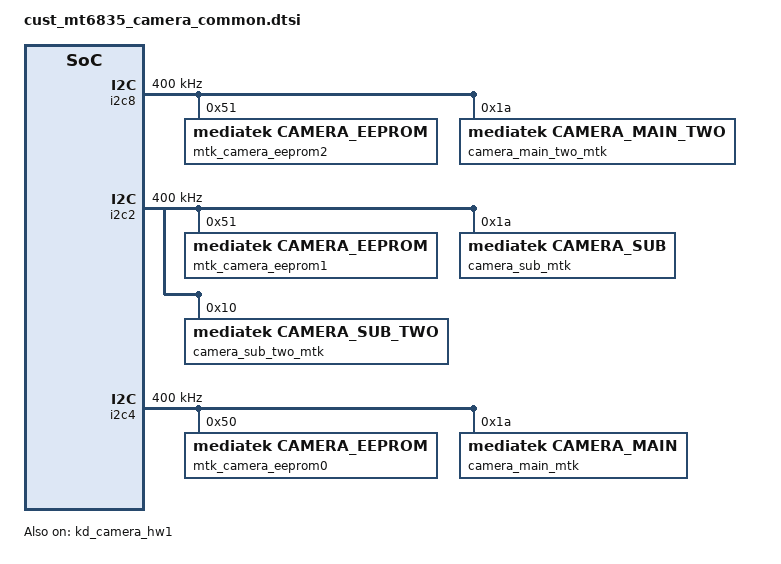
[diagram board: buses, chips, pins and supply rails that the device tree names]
// SPDX-License-Identifier: GPL-2.0
/* Copyright (c) 2020 MediaTek Inc. */
/* CAMERA GPIO standardization */

&pio {
	camera_pins_cam0_rst_0: cam0@0 {
		pins_cmd_dat {
			pinmux = <PINMUX_GPIO26__FUNC_GPIO26>;
			slew-rate = <1>;
			output-low;
		};
	};
	camera_pins_cam0_rst_1: cam0@1 {
		pins_cmd_dat {
			pinmux = <PINMUX_GPIO26__FUNC_GPIO26>;
			slew-rate = <1>;
			output-high;
		};
	};
	//cam0 powerdown nc
	camera_pins_cam0_pnd_0: cam0@2 {
		pins_cmd_dat {
			pinmux = <PINMUX_GPIO19__FUNC_GPIO19>;
			slew-rate = <1>;
			output-low;
		};
	};
	camera_pins_cam0_pnd_1: cam0@3 {
		pins_cmd_dat {
			pinmux = <PINMUX_GPIO19__FUNC_GPIO19>;
			slew-rate = <1>;
			output-high;
		};
	};
	camera_pins_cam1_rst_0: cam1@0 {
		pins_cmd_dat {
			pinmux = <PINMUX_GPIO25__FUNC_GPIO25>;
			slew-rate = <1>;
			output-low;
		};
	};
	camera_pins_cam1_rst_1: cam1@1 {
		pins_cmd_dat {
			pinmux = <PINMUX_GPIO25__FUNC_GPIO25>;
			slew-rate = <1>;
			output-high;
		};
	};
	camera_pins_cam1_pnd_0: cam1@2 {
		pins_cmd_dat {
			pinmux = <PINMUX_GPIO21__FUNC_GPIO21>;
			slew-rate = <1>;
			output-low;
		};
	};
	camera_pins_cam1_pnd_1: cam1@3 {
		pins_cmd_dat {
			pinmux = <PINMUX_GPIO21__FUNC_GPIO21>;
			slew-rate = <1>;
			output-high;
		};
	};
	camera_pins_cam2_rst_0: cam2@0 {
		pins_cmd_dat {
			pinmux = <PINMUX_GPIO28__FUNC_GPIO28>;
			slew-rate = <1>;
			output-low;
		};
	};
	camera_pins_cam2_rst_1: cam2@1 {
		pins_cmd_dat {
			pinmux = <PINMUX_GPIO28__FUNC_GPIO28>;
			slew-rate = <1>;
			output-high;
		};
	};
	camera_pins_cam2_pnd_0: cam2@2 {
		pins_cmd_dat {
			pinmux = <PINMUX_GPIO23__FUNC_GPIO23>;
			slew-rate = <1>;
			output-low;
		};
	};
	camera_pins_cam2_pnd_1: cam2@3 {
		pins_cmd_dat {
			pinmux = <PINMUX_GPIO23__FUNC_GPIO23>;
			slew-rate = <1>;
			output-high;
		};
	};
	camera_pins_cam3_rst_0: cam3@0 {
		pins_cmd_dat {
			pinmux = <PINMUX_GPIO27__FUNC_GPIO27>;
			slew-rate = <1>;
			output-low;
		};
	};
	camera_pins_cam3_rst_1: cam3@1 {
		pins_cmd_dat {
			pinmux = <PINMUX_GPIO27__FUNC_GPIO27>;
			slew-rate = <1>;
			output-high;
		};
	};
	camera_pins_cam3_pnd_0: cam3@2 {
		pins_cmd_dat {
			pinmux = <PINMUX_GPIO22__FUNC_GPIO22>;
			slew-rate = <1>;
			output-low;
		};
	};
	camera_pins_cam3_pnd_1: cam3@3 {
		pins_cmd_dat {
			pinmux = <PINMUX_GPIO22__FUNC_GPIO22>;
			slew-rate = <1>;
			output-high;
		};
	};
	camera0_vcama_off: camera0_vcama_output_low@gpio56 {
		pins_cmd_dat {
			pinmux = <PINMUX_GPIO56__FUNC_GPIO56>;
			output-low;
		};
	};
	camera0_vcama_on: camera0_vcama_output_high@gpio56 {
		pins_cmd_dat {
			pinmux = <PINMUX_GPIO56__FUNC_GPIO56>;
			output-high;
		};
	};
	camera0_vcamd_off: camera0_vcamd_output_low@gpio57 {
		pins_cmd_dat {
			pinmux = <PINMUX_GPIO57__FUNC_GPIO57>;
			output-low;
		};
	};
	camera0_vcamd_on: camera0_vcamd_output_high@gpio57 {
		pins_cmd_dat {
			pinmux = <PINMUX_GPIO57__FUNC_GPIO57>;
			output-high;
		};
	};
	camera1_vcama_off: camera1_vcama_output_low@gpio59 {
		pins_cmd_dat {
			pinmux = <PINMUX_GPIO59__FUNC_GPIO59>;
			output-low;
		};
	};
	camera1_vcama_on: camera1_vcama_output_high@gpio59 {
		pins_cmd_dat {
			pinmux = <PINMUX_GPIO59__FUNC_GPIO59>;
			output-high;
		};
	};
	camera1_vcamd_off: camera1_vcamd_output_low@gpio35 {
		pins_cmd_dat {
			pinmux = <PINMUX_GPIO35__FUNC_GPIO35>;
			output-low;
		};
	};
	camera1_vcamd_on: camera1_vcamd_output_high@gpio35 {
		pins_cmd_dat {
			pinmux = <PINMUX_GPIO35__FUNC_GPIO35>;
			output-high;
		};
	};
	camera2_vcama_off: camera2_vcama_output_low@gpio59 {
		pins_cmd_dat {
			pinmux = <PINMUX_GPIO59__FUNC_GPIO59>;
			output-low;
		};
	};
	camera2_vcama_on: camera2_vcama_output_high@gpio59 {
		pins_cmd_dat {
			pinmux = <PINMUX_GPIO59__FUNC_GPIO59>;
			output-high;
		};
	};
	camera2_vcamd_off: camera2_vcamd_output_low@gpio13 {
		pins_cmd_dat {
			pinmux = <PINMUX_GPIO13__FUNC_GPIO13>;
			output-low;
		};
	};
	camera2_vcamd_on: camera2_vcamd_output_high@gpio13 {
		pins_cmd_dat {
			pinmux = <PINMUX_GPIO13__FUNC_GPIO13>;
			output-high;
		};
	};
	camera3_vcama_off: camera3_vcama_output_low@gpio32 {
		pins_cmd_dat {
			pinmux = <PINMUX_GPIO32__FUNC_GPIO32>;
			output-low;
		};
	};
	camera3_vcama_on: camera3_vcama_output_high@gpio32 {
		pins_cmd_dat {
			pinmux = <PINMUX_GPIO32__FUNC_GPIO32>;
			output-high;
		};
	};
	camera3_vcamd_off: camera3_vcamd_output_low@gpio13 {
		pins_cmd_dat {
			pinmux = <PINMUX_GPIO13__FUNC_GPIO13>;
			output-low;
		};
	};
	camera3_vcamd_on: camera3_vcamd_output_high@gpio13 {
		pins_cmd_dat {
			pinmux = <PINMUX_GPIO13__FUNC_GPIO13>;
			output-high;
		};
	};
	camera_pins_cam0_mclk_off: camera_pins_cam0_mclk_off {
		pins_cmd_dat {
			pinmux = <PINMUX_GPIO89__FUNC_GPIO89>;
			drive-strength = <1>;
		};
	};
	camera_pins_cam0_mclk_2ma: camera_pins_cam0_mclk_2ma {
		pins_cmd_dat {
			pinmux = <PINMUX_GPIO89__FUNC_CMMCLK1>;
			drive-strength = <0>;
		};
	};
	camera_pins_cam0_mclk_4ma: camera_pins_cam0_mclk_4ma {
		pins_cmd_dat {
			pinmux = <PINMUX_GPIO89__FUNC_CMMCLK1>;
			drive-strength = <1>;
		};
	};
	camera_pins_cam0_mclk_6ma: camera_pins_cam0_mclk_6ma {
		pins_cmd_dat {
			pinmux = <PINMUX_GPIO89__FUNC_CMMCLK1>;
			drive-strength = <2>;
		};
	};
	camera_pins_cam0_mclk_8ma: camera_pins_cam0_mclk_8ma {
		pins_cmd_dat {
			pinmux = <PINMUX_GPIO89__FUNC_CMMCLK1>;
			drive-strength = <3>;
		};
	};
	camera_pins_cam1_mclk_off: camera_pins_cam1_mclk_off {
		pins_cmd_dat {
			pinmux = <PINMUX_GPIO88__FUNC_GPIO88>;
			drive-strength = <1>;
		};
	};
	camera_pins_cam1_mclk_2ma: camera_pins_cam1_mclk_2ma {
		pins_cmd_dat {
			pinmux = <PINMUX_GPIO88__FUNC_CMMCLK0>;
			drive-strength = <0>;
		};
	};
	camera_pins_cam1_mclk_4ma: camera_pins_cam1_mclk_4ma {
		pins_cmd_dat {
			pinmux = <PINMUX_GPIO88__FUNC_CMMCLK0>;
			drive-strength = <1>;
		};
	};
	camera_pins_cam1_mclk_6ma: camera_pins_cam1_mclk_6ma {
		pins_cmd_dat {
			pinmux = <PINMUX_GPIO88__FUNC_CMMCLK0>;
			drive-strength = <2>;
		};
	};
	camera_pins_cam1_mclk_8ma: camera_pins_cam1_mclk_8ma {
		pins_cmd_dat {
			pinmux = <PINMUX_GPIO88__FUNC_CMMCLK0>;
			drive-strength = <3>;
		};
	};
	camera_pins_cam2_mclk_off: camera_pins_cam2_mclk_off {
		pins_cmd_dat {
			pinmux = <PINMUX_GPIO91__FUNC_GPIO91>;
			drive-strength = <1>;
		};
	};
	camera_pins_cam2_mclk_2ma: camera_pins_cam2_mclk_2ma {
		pins_cmd_dat {
			pinmux = <PINMUX_GPIO91__FUNC_CMMCLK3>;
			drive-strength = <0>;
		};
	};
	camera_pins_cam2_mclk_4ma: camera_pins_cam2_mclk_4ma {
		pins_cmd_dat {
			pinmux = <PINMUX_GPIO91__FUNC_CMMCLK3>;
			drive-strength = <1>;
		};
	};
	camera_pins_cam2_mclk_6ma: camera_pins_cam2_mclk_6ma {
		pins_cmd_dat {
			pinmux = <PINMUX_GPIO91__FUNC_CMMCLK3>;
			drive-strength = <2>;
		};
	};
	camera_pins_cam2_mclk_8ma: camera_pins_cam2_mclk_8ma {
		pins_cmd_dat {
			pinmux = <PINMUX_GPIO91__FUNC_CMMCLK3>;
			drive-strength = <3>;
		};
	};
	camera_pins_cam3_mclk_off: camera_pins_cam3_mclk_off {
		pins_cmd_dat {
			pinmux = <PINMUX_GPIO90__FUNC_GPIO90>;
			drive-strength = <1>;
		};
	};
	camera_pins_cam3_mclk_2ma: camera_pins_cam3_mclk_2ma {
		pins_cmd_dat {
			pinmux = <PINMUX_GPIO90__FUNC_CMMCLK2>;
			drive-strength = <0>;
		};
	};
	camera_pins_cam3_mclk_4ma: camera_pins_cam3_mclk_4ma {
		pins_cmd_dat {
			pinmux = <PINMUX_GPIO90__FUNC_CMMCLK2>;
			drive-strength = <1>;
		};
	};
	camera_pins_cam3_mclk_6ma: camera_pins_cam3_mclk_6ma {
		pins_cmd_dat {
			pinmux = <PINMUX_GPIO90__FUNC_CMMCLK2>;
			drive-strength = <2>;
		};
	};
	camera_pins_cam3_mclk_8ma: camera_pins_cam3_mclk_8ma {
		pins_cmd_dat {
			pinmux = <PINMUX_GPIO90__FUNC_CMMCLK2>;
			drive-strength = <3>;
		};
	};
	camera0_vcamio_off: camera0_vcamio_output_low@gpio34 {
		pins_cmd_dat {
			pinmux = <PINMUX_GPIO34__FUNC_GPIO34>;
			output-low;
		};
	};
	camera0_vcamio_on: camera0_vcamio_output_high@gpio34 {
		pins_cmd_dat {
			pinmux = <PINMUX_GPIO34__FUNC_GPIO34>;
			output-high;
		};
	};
	camera1_vcamio_off: camera1_vcamio_output_low@gpio34 {
		pins_cmd_dat {
			pinmux = <PINMUX_GPIO34__FUNC_GPIO34>;
			output-low;
		};
	};
	camera1_vcamio_on: camera1_vcamio_output_high@gpio34 {
		pins_cmd_dat {
			pinmux = <PINMUX_GPIO34__FUNC_GPIO34>;
			output-high;
		};
	};
	camera2_vcamio_off: camera2_vcamio_output_low@gpio34 {
		pins_cmd_dat {
			pinmux = <PINMUX_GPIO34__FUNC_GPIO34>;
			output-low;
		};
	};
	camera2_vcamio_on: camera2_vcamio_output_high@gpio34 {
		pins_cmd_dat {
			pinmux = <PINMUX_GPIO34__FUNC_GPIO34>;
			output-high;
		};
	};
	camera3_vcamio_off: camera3_vcamio_output_low@gpio34 {
		pins_cmd_dat {
			pinmux = <PINMUX_GPIO34__FUNC_GPIO34>;
			output-low;
		};
	};
	camera3_vcamio_on: camera3_vcamio_output_high@gpio34 {
		pins_cmd_dat {
			pinmux = <PINMUX_GPIO34__FUNC_GPIO34>;
			output-high;
		};
	};
	camera_pins_cam_mipi_switch_en_1: mipi_en@1 {
		pins_cmd_dat {
			pinmux = <PINMUX_GPIO98__FUNC_GPIO98>;
			slew-rate = <1>;
			output-high;
		};
	};
	camera_pins_cam_mipi_switch_en_0: mipi_en@0 {
		pins_cmd_dat {
			pinmux = <PINMUX_GPIO98__FUNC_GPIO98>;
			slew-rate = <1>;
			output-low;
		};
	};
	camera_pins_cam_mipi_switch_sel_1: mipi_sel@1 {
		pins_cmd_dat {
			pinmux = <PINMUX_GPIO97__FUNC_GPIO97>;
			slew-rate = <1>;
			output-high;
		};
	};
	camera_pins_cam_mipi_switch_sel_0: mipi_sel@0 {
		pins_cmd_dat {
			pinmux = <PINMUX_GPIO97__FUNC_GPIO97>;
			slew-rate = <1>;
			output-low;
		};
	};
	camera_pins_default: camdefault {
	};
};
&kd_camera_hw1 {
	pinctrl-names = "default",
			"cam0_rst0", "cam0_rst1",
			"cam0_pnd0", "cam0_pnd1",
			"cam1_rst0", "cam1_rst1",
			"cam1_pnd0", "cam1_pnd1",
			"cam2_rst0", "cam2_rst1",
			"cam2_pnd0", "cam2_pnd1",
			"cam3_rst0", "cam3_rst1",
			"cam3_pnd0", "cam3_pnd1",

			"cam0_ldo_vcama_1", "cam0_ldo_vcama_0",
			"cam0_ldo_vcamd_1", "cam0_ldo_vcamd_0",

			"cam1_ldo_vcama_1", "cam1_ldo_vcama_0",
			"cam1_ldo_vcamd_1", "cam1_ldo_vcamd_0",

			"cam2_ldo_vcama_1", "cam2_ldo_vcama_0",
			"cam2_ldo_vcamd_1", "cam2_ldo_vcamd_0",

			"cam3_ldo_vcama_1", "cam3_ldo_vcama_0",
			"cam3_ldo_vcamd_1", "cam3_ldo_vcamd_0",

			"cam0_mclk_off",
			"cam0_mclk_2mA", "cam0_mclk_4mA",
			"cam0_mclk_6mA", "cam0_mclk_8mA",
			"cam1_mclk_off",
			"cam1_mclk_2mA", "cam1_mclk_4mA",
			"cam1_mclk_6mA", "cam1_mclk_8mA",
			"cam2_mclk_off",
			"cam2_mclk_2mA", "cam2_mclk_4mA",
			"cam2_mclk_6mA", "cam2_mclk_8mA",
			"cam3_mclk_off",
			"cam3_mclk_2mA", "cam3_mclk_4mA",
			"cam3_mclk_6mA", "cam3_mclk_8mA",
			"cam0_ldo_vcamio_1", "cam0_ldo_vcamio_0",
			"cam1_ldo_vcamio_1", "cam1_ldo_vcamio_0",
			"cam2_ldo_vcamio_1", "cam2_ldo_vcamio_0",
			"cam3_ldo_vcamio_1", "cam3_ldo_vcamio_0";

	pinctrl-0 = <&camera_pins_default>;
	pinctrl-1 = <&camera_pins_cam0_rst_0>;
	pinctrl-2 = <&camera_pins_cam0_rst_1>;
	pinctrl-3 = <&camera_pins_cam0_pnd_0>;
	pinctrl-4 = <&camera_pins_cam0_pnd_1>;
	pinctrl-5 = <&camera_pins_cam1_rst_0>;
	pinctrl-6 = <&camera_pins_cam1_rst_1>;
	pinctrl-7 = <&camera_pins_cam1_pnd_0>;
	pinctrl-8 = <&camera_pins_cam1_pnd_1>;
	pinctrl-9 = <&camera_pins_cam2_rst_0>;
	pinctrl-10 = <&camera_pins_cam2_rst_1>;
	pinctrl-11 = <&camera_pins_cam2_pnd_0>;
	pinctrl-12 = <&camera_pins_cam2_pnd_1>;
	pinctrl-13 = <&camera_pins_cam3_rst_0>;
	pinctrl-14 = <&camera_pins_cam3_rst_1>;
	pinctrl-15 = <&camera_pins_cam3_pnd_0>;
	pinctrl-16 = <&camera_pins_cam3_pnd_1>;

	pinctrl-17 = <&camera0_vcama_on>;
	pinctrl-18 = <&camera0_vcama_off>;
	pinctrl-19 = <&camera0_vcamd_on>;
	pinctrl-20 = <&camera0_vcamd_off>;

	pinctrl-21 = <&camera1_vcama_on>;
	pinctrl-22 = <&camera1_vcama_off>;
	pinctrl-23 = <&camera1_vcamd_on>;
	pinctrl-24 = <&camera1_vcamd_off>;

	pinctrl-25 = <&camera2_vcama_on>;
	pinctrl-26 = <&camera2_vcama_off>;
	pinctrl-27 = <&camera2_vcamd_on>;
	pinctrl-28 = <&camera2_vcamd_off>;

	pinctrl-29 = <&camera3_vcama_on>;
	pinctrl-30 = <&camera3_vcama_off>;
	pinctrl-31 = <&camera3_vcamd_on>;
	pinctrl-32 = <&camera3_vcamd_off>;

	pinctrl-33 = <&camera_pins_cam0_mclk_off>;
	pinctrl-34 = <&camera_pins_cam0_mclk_2ma>;
	pinctrl-35 = <&camera_pins_cam0_mclk_4ma>;
	pinctrl-36 = <&camera_pins_cam0_mclk_6ma>;
	pinctrl-37 = <&camera_pins_cam0_mclk_8ma>;
	pinctrl-38 = <&camera_pins_cam1_mclk_off>;
	pinctrl-39 = <&camera_pins_cam1_mclk_2ma>;
	pinctrl-40 = <&camera_pins_cam1_mclk_4ma>;
	pinctrl-41 = <&camera_pins_cam1_mclk_6ma>;
	pinctrl-42 = <&camera_pins_cam1_mclk_8ma>;
	pinctrl-43 = <&camera_pins_cam2_mclk_off>;
	pinctrl-44 = <&camera_pins_cam2_mclk_2ma>;
	pinctrl-45 = <&camera_pins_cam2_mclk_4ma>;
	pinctrl-46 = <&camera_pins_cam2_mclk_6ma>;
	pinctrl-47 = <&camera_pins_cam2_mclk_8ma>;
	pinctrl-48 = <&camera_pins_cam3_mclk_off>;
	pinctrl-49 = <&camera_pins_cam3_mclk_2ma>;
	pinctrl-50 = <&camera_pins_cam3_mclk_4ma>;
	pinctrl-51 = <&camera_pins_cam3_mclk_6ma>;
	pinctrl-52 = <&camera_pins_cam3_mclk_8ma>;
	pinctrl-53 = <&camera0_vcamio_on>;
	pinctrl-54 = <&camera0_vcamio_off>;
	pinctrl-55 = <&camera1_vcamio_on>;
	pinctrl-56 = <&camera1_vcamio_off>;
	pinctrl-57 = <&camera2_vcamio_on>;
	pinctrl-58 = <&camera2_vcamio_off>;
	pinctrl-59 = <&camera3_vcamio_on>;
	pinctrl-60 = <&camera3_vcamio_off>;

	/* main (wide)*/
	//cam0_vcama-supply = <&rt5133_ldo4>;
	//cam0_vcamio-supply = <&rt5133_ldo1>;
	//cam0_vcamd-supply = <&rt5133_ldo8>;
	//cam0_vcama1-supply = <&rt5133_ldo5>;
	//cam0_vcamaf-supply = <&rt5133_ldo3>;

	/* front*/
	//cam1_vcama-supply = <&rt5133_ldo6>;
	//cam1_vcamio-supply = <&rt5133_ldo1>;
	//cam1_vcamd-supply = <&rt5133_ldo7>;
	//cam1_vcama1-supply = <&rt5133_ldo5>;
	//cam1_vcamaf-supply = <&rt5133_ldo2>;

	/* main2 (Ultra Wide)*/
	//cam2_vcama-supply = <&rt5133_gpio2>;
	//cam2_vcamio-supply = <&rt5133_ldo1>;
	//cam2_vcamd-supply = <&rt5133_ldo7>;
	//cam2_vcama1-supply = <&rt5133_ldo5>;
	//cam2_vcamaf-supply = <&rt5133_gpio1>;

	//cam0_vcamio-supply = <&mt_pmic_vcamio_ldo_reg>;
	//cam1_vcamio-supply = <&mt_pmic_vcamio_ldo_reg>;
	//cam2_vcamio-supply = <&mt_pmic_vcamio_ldo_reg>;
	//cam3_vcamio-supply = <&mt_pmic_vcamio_ldo_reg>;

	cam0_vcamaf-supply = <&mt6377_vtp>;

	cam0_pin_mclk = "mclk";
	cam0_pin_rst = "gpio";
	cam0_pin_pnd = "gpio";
	cam0_pin_vcama = "gpio";
	cam0_pin_vcamio = "gpio";
	cam0_pin_vcamd = "gpio";
	cam0_pin_vcamaf = "regulator";

	cam1_pin_mclk = "mclk";
	cam1_pin_rst = "gpio";
	cam1_pin_pnd = "gpio";
	cam1_pin_vcama = "gpio";
	cam1_pin_vcamio = "gpio";
	cam1_pin_vcamd = "gpio";

	cam2_pin_mclk = "mclk";
	cam2_pin_rst = "gpio";
	cam2_pin_pnd = "gpio";
	cam2_pin_vcama = "gpio";
	cam2_pin_vcamio = "gpio";
	cam2_pin_vcamd = "gpio";

	cam3_pin_mclk = "mclk";
	cam3_pin_rst = "gpio";
	cam3_pin_pnd = "gpio";
	cam3_pin_vcama = "gpio";
	cam3_pin_vcamio = "gpio";
	cam3_pin_vcamd = "gpio";

	cam0_enable_sensor = "s5k3l8_mipi_raw ov50c40_mipi_raw";
	cam1_enable_sensor = "gc05a2sub_mipi_raw";
	cam2_enable_sensor = "bf2257csmacro_mipi_raw";
	cam3_enable_sensor = "";

	status = "okay";
};
/* CAMERA GPIO end */

/* CAMERA EEPROM */
&i2c8 {
	status = "okay";
	clock-frequency = <400000>;
	#address-cells = <1>;
	#size-cells = <0>;

	mtk_camera_eeprom2:camera_eeprom2@51 {
		compatible = "mediatek,camera_eeprom";
		reg = <0x51>;
		status = "okay";
	};
	camera_main_two_mtk:camera_main_two@1a {
		compatible = "mediatek,camera_main_two";
		#thermal-sensor-cells = <0>;
		reg = <0x1a>;
		status = "okay";
	};
};
&i2c2 {
	status = "okay";
	clock-frequency = <400000>;
	#address-cells = <1>;
	#size-cells = <0>;

	mtk_camera_eeprom1:camera_eeprom1@51 {
		compatible = "mediatek,camera_eeprom";
		reg = <0x51>;
		status = "okay";
	};
	camera_sub_mtk:camera_sub@1a {
		compatible = "mediatek,camera_sub";
		#thermal-sensor-cells = <0>;
		reg = <0x1a>;
		status = "okay";
	};
	camera_sub_two_mtk:camera_sub_two@10 {
		compatible = "mediatek,camera_sub_two";
		#thermal-sensor-cells = <0>;
		reg = <0x10>;
		status = "okay";
	};
};
&i2c4 {
	status = "okay";
	clock-frequency = <400000>;
	#address-cells = <1>;
	#size-cells = <0>;

	mtk_camera_eeprom0:camera_eeprom0@50 {
		compatible = "mediatek,camera_eeprom";
		reg = <0x50>;
		status = "okay";
	};
	camera_main_mtk:camera_main@1a {
		compatible = "mediatek,camera_main";
		#thermal-sensor-cells = <0>;
		reg = <0x1a>;
		status = "okay";
	};
};
/* CAMERA EEPROM end */

/* CAMERA TZ config */
&thermal_zones {
	camera_main: camera_main {
		polling-delay = <1000>; /* milliseconds */
		polling-delay-passive = <0>; /* milliseconds */
		thermal-sensors = <&camera_main_mtk>;
	};
	camera_sub: camera_sub {
		polling-delay = <1000>; /* milliseconds */
		polling-delay-passive = <0>; /* milliseconds */
		thermal-sensors = <&camera_sub_mtk>;
	};
	camera_main_two: camera_main_two {
		polling-delay = <1000>; /* milliseconds */
		polling-delay-passive = <0>; /* milliseconds */
		thermal-sensors = <&camera_main_two_mtk>;
	};
	camera_sub_two: camera_sub_two {
		polling-delay = <1000>; /* milliseconds */
		polling-delay-passive = <0>; /* milliseconds */
		thermal-sensors = <&camera_main_two_mtk>;
	};
};
/* CAMERA TZ config end */
